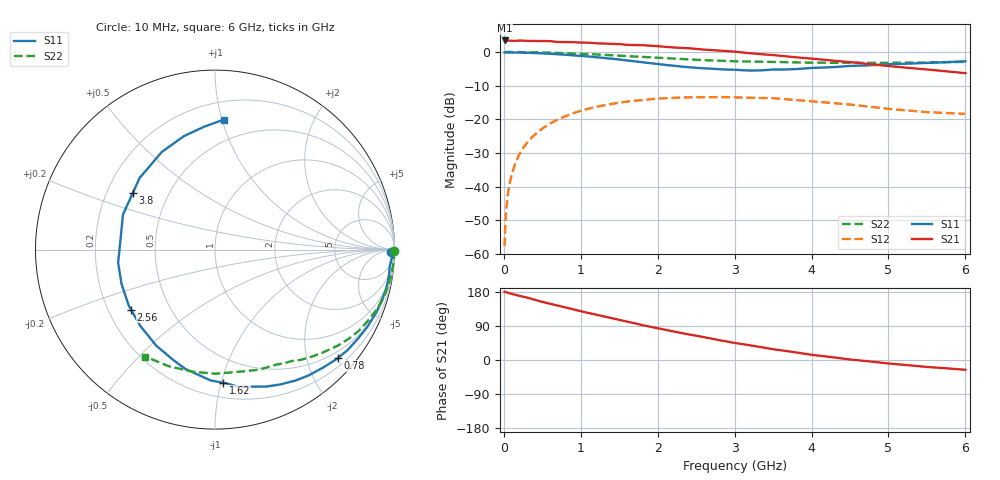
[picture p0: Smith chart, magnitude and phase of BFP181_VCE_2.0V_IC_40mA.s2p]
! Infineon Technologies  Discrete & RF Semiconductors
! BFP181
! VCE = 2.0 V,  IC =  40 mA
! Common Emitter S-Parameters:  Jan 2016
# GHz  S  MA  R  50
!  f  S11  S21  S12  S22
! GHz  MAG  ANG  MAG  ANG  MAG  ANG  MAG  ANG
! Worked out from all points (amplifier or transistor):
!   210 points, 10 MHz to 6 GHz, reference 50 ohm
!   highest |S21| = 3.4 dB at 10 MHz (marker M1)
!   |S21| within 3 dB of that: start of sweep to 2.802 GHz
!   unconditionally stable (mu >= 1): 3.715 GHz to end of sweep
!   at 185 MHz: K = 0.06, MSG = 17.3 dB, |S12| = -31.2 dB
!   at 1.52 GHz: K = 0.46, MSG = 8.7 dB, |S12| = -15.0 dB
!   at 6 GHz: K = 1.53, MAG = 1.8 dB, |S12| = -18.4 dB
!   S11 on the Smith chart (normalised r, x): 10 MHz: 77, -53; 780 MHz: 0.36, -2.60; 1.62 GHz: 0.31, -1.01; 2.56 GHz: 0.30, -0.30; 3.8 GHz: 0.31, +0.29; 6 GHz: 0.33, +1.01
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0.01  0.9825 -0.7  1.481 179.8  0.0013 83.7  0.9989 -0.3
0.02  0.9831 -1.1  1.469 179.8  0.0027 84.8  0.9984 -0.5
0.03  0.9842 -1.6  1.471 179.0  0.0043 87.8  0.9983 -0.8
0.055  0.9856 -2.9  1.476 177.1  0.0081 88.9  0.9983 -1.4
0.105  0.9773 -5.7  1.464 174.4  0.0154 83.8  0.9986 -2.7
0.18  0.9797 -9.5  1.47 170.5  0.0267 83.3  0.9963 -4.7
0.3  0.9723 -15.9  1.462 164.9  0.0445 78.3  0.9935 -7.9
0.42  0.9618 -22.1  1.454 157.7  0.0614 73.5  0.9881 -10.9
0.78  0.9129 -41.4  1.405 139.6  0.1083 60.0  0.9614 -20.0
1.02  0.8697 -54.4  1.377 127.8  0.1354 51.4  0.9371 -25.6
1.3  0.8148 -69.5  1.332 115.0  0.1612 41.7  0.905 -32.0
1.62  0.7427 -86.6  1.273 100.6  0.1841 32.1  0.8667 -38.3
2.02  0.6568 -110.9  1.214 82.9  0.2034 20.7  0.8189 -45.5
2.56  0.5751 -144.4  1.092 61.8  0.2124 7.1  0.7584 -54.7
2.8  0.5548 -159.8  1.049 52.3  0.214 1.5  0.7429 -58.5
3.1  0.5346 -177.9  0.982 42.1  0.21 -4.9  0.7226 -63.4
3.5  0.5485 159.1  0.899 28.4  0.2055 -12.5  0.7125 -69.9
3.8  0.5566 145.2  0.832 20.0  0.1929 -16.8  0.6985 -75.5
4.1  0.5827 132.8  0.777 11.5  0.181 -21.1  0.691 -81.5
4.5  0.6192 118.7  0.706 1.3  0.1653 -25.8  0.6918 -89.9
5.1  0.6604 103.1  0.602 -10.9  0.1395 -26.9  0.6911 -102.9
6  0.7259 86.1  0.484 -25.8  0.1202 -19.2  0.7113 -123.0
